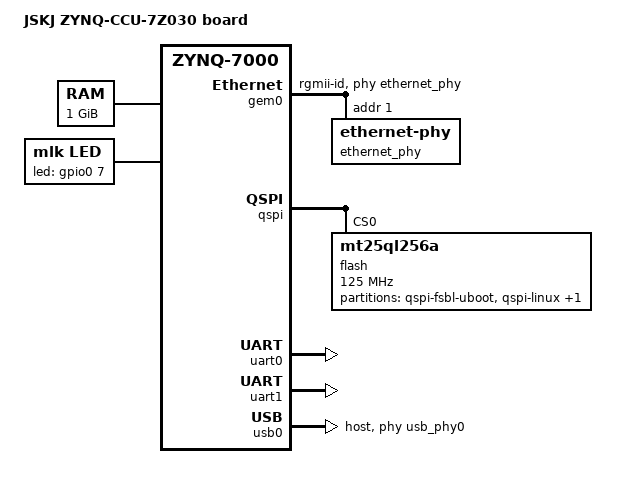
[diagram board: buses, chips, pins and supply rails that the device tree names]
// SPDX-License-Identifier: GPL-2.0+
/*
 *  Copyright (C) 2011 - 2015 Xilinx
 *  Copyright (C) 2012 National Instruments Corp.
 */
#define GPIO_ACTIVE_HIGH 0
#define GPIO_ACTIVE_LOW 1

/dts-v1/;
#include "zynq-7000.dtsi"

/ {
	model = "JSKJ ZYNQ-CCU-7Z030 board";
	compatible = "xlnx,zynq-zc706", "xlnx,zynq-7000";

	aliases {
		ethernet0 = &gem0;
		serial0 = &uart0;
		spi0 = &qspi;
	};

	memory@0 {
		device_type = "memory";
		reg = <0x0 0x40000000>;
	};

	chosen {
		bootargs = "";
		stdout-path = "serial0:115200n8";
	};

	usb_phy0: phy0@e0002000 {
		compatible = "ulpi-phy";
		#phy-cells = <0>;
		reg = <0xe0002000 0x1000>;
		view-port = <0x0170>;
		drv-vbus;
	};

	led {
		compatible="mlk,led";
		status="okay";
		default-state="on";

		led-gpio = <&gpio0 7 GPIO_ACTIVE_HIGH>;
	};


};

&clkc {
	ps-clk-frequency = <33333333>;
};

&gem0 {
	status = "okay";
	phy-mode = "rgmii-id";
	phy-handle = <&ethernet_phy>;
	local-mac-address = [00 0a 35 00 00 00];
	ethernet_phy: ethernet-phy@1 {
		reg = <1>;
		device_type = "ethernet-phy";
	};
};


&qspi {
	u-boot,dm-pre-reloc;
	status = "okay";
	is-dual = <0>;
	num-cs = <1>;
	flash@0 {
		compatible = "mt25ql256a";
		reg = <0x0>;
		spi-tx-bus-width = <4>;
		spi-rx-bus-width = <4>;
		spi-max-frequency = <125000000>;
		#address-cells = <1>;
		#size-cells = <1>;
		partition@0 {
			label = "qspi-fsbl-uboot";
			reg = <0x0 0x200000>;
		};
		partition@200000 {
			label = "qspi-linux";
			reg = <0x200000 0x620000>;/* 0x420000 */
		};
		partition@620000 {
			label = "qspi-device-tree";
			reg = <0x820000 0x20000>;/* 0x620000 */
		};
		/*
		partition@640000 {
			label = "qspi-rootfs";
			reg = <0x640000 0x400000>;
		};
		*/
	};
};

&uart0 {
        cts-override ;
        device_type = "serial";
        port-number = <0>;
        status = "okay";
        u-boot,dm-pre-reloc;
};

&uart1 {
	u-boot,dm-pre-reloc;
	status = "okay";
};

&usb0 {
 	status = "okay";
	phy_type = "ulpi";
 	dr_mode = "host";
 	usb-phy = <&usb_phy0>;
 };

&watchdog0 {
	reset-on-timeout;
};
